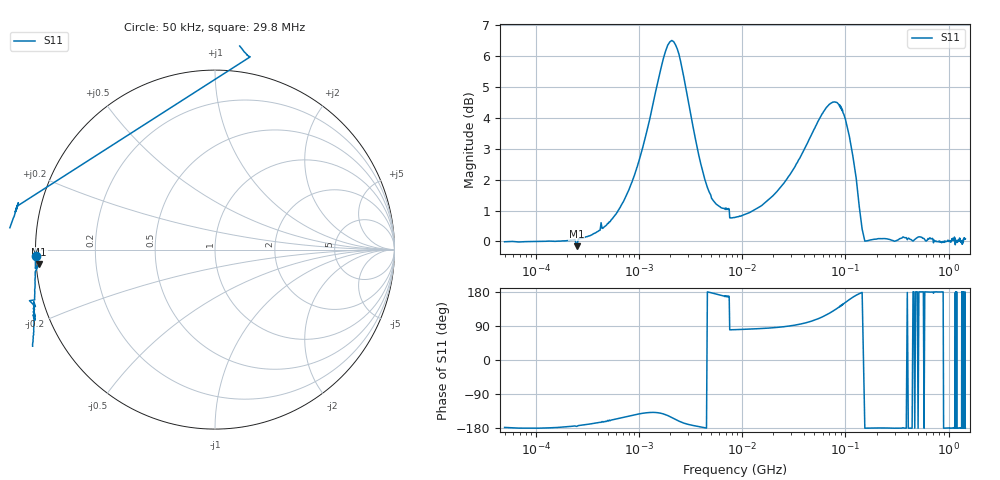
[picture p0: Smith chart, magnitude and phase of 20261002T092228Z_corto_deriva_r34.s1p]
! piloto_deriva / corto_deriva / r34
# HZ S RI R 50
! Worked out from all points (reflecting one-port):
!   501 points, 50 kHz to 1.45 GHz, reference 50 ohm
!   lowest |S11| = -0.2 dB at 249.5 kHz (marker M1), VSWR 111.39, Z = 0.45 - j2.06 ohm
!   phase of S11 starts at -178 deg and turns -2 deg over the sweep
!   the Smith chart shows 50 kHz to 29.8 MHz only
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50000  -0.9979 -0.0362
183000  -1.001 -0.0517
249500  -0.9789 -0.0808
468000  -1.011 -0.3094
658000  -1.014 -0.5105
1180000  -1.135 -0.9767
1630000  -1.47 -1.211
1990000  -1.808 -1.079
2170000  -1.9 -0.9109
2440000  -1.905 -0.644
3070000  -1.633 -0.2709
4330000  -1.262 -0.0311
7300000  -1.096 0.2614
7750000  0.1939 1.074
8560000  0.1876 1.078
1.9e7  0.1097 1.173
3.16e7  -0.0364 1.312
4.69e7  -0.3231 1.454
6.76e7  -0.86 1.418
7.93e7  -1.139 1.238
9.19e7  -1.359 0.9257
9.82e7  -1.384 0.7837
1e8  -1.393 0.7382
1.18e8  -1.331 0.3378
1.36e8  -1.134 0.0997
1.63e8  -1.002 -0.00419
4.06e8  -1.012 -0.0022
1.45e9  -1.009 -0.00343
